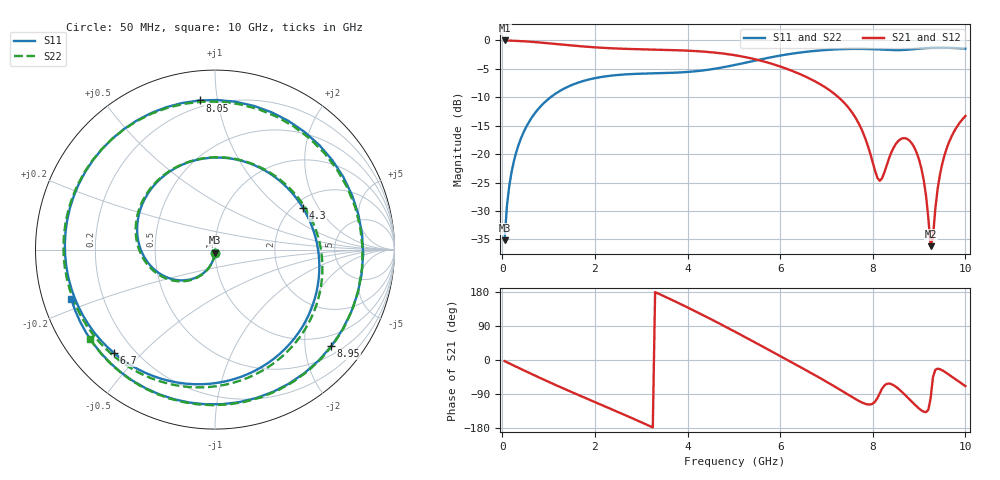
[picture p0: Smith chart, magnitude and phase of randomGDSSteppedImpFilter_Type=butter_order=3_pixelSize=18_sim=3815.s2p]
! freq	dB(S11)	phase(S11)	dB(S12)	phase(S12)
!  dB(S21)	phase(S21)	dB(S22)	phase(S22)
!S-par simulation data
#  GHz  S  DB  R 50
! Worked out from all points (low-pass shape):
!   200 points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, 50 MHz to 10 GHz, reference 50 ohm
!   highest |S21| = 0.00 dB at 50 MHz (marker M1); lowest = -36.2 dB at 9.25 GHz (marker M2)
!   |S21| within 3 dB of the highest: start of sweep to 5.29 GHz
!   lowest |S11| = -35.1 dB at 50 MHz (marker M3), VSWR 1.04, Z = 49.9 - j1.74 ohm
!   |S11| at or under -10 dB: start of sweep to 1.042 GHz
!   |S22| runs from -35.1 to -1.2 dB; largest |S21 - S12| = 0
!   S11 on the Smith chart (normalised r, x): 50 MHz: 1.00, -0.03; 4.3 GHz: 2.25, +1.48; 6.7 GHz: 0.13, -0.42; 8.05 GHz: 0.16, +0.89; 8.95 GHz: 0.70, -2.60; 10 GHz: 0.08, -0.17
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0.05  -35.14 -92.9  -0.00 -3.0  -0.00 -3.0  -35.14 -92.8
0.2  -23.16 -102.3  -0.04 -11.9  -0.04 -11.9  -23.16 -101.9
0.5  -15.49 -120.4  -0.17 -29.3  -0.17 -29.3  -15.48 -119.4
1.1  -9.65 -154.9  -0.58 -63.1  -0.58 -63.1  -9.65 -152.5
1.75  -7.14 169.5  -1.06 -98.0  -1.06 -98.0  -7.14 173.3
2.65  -5.98 120.9  -1.48 -145.3  -1.48 -145.3  -5.98 127.2
3.4  -5.76 79.0  -1.64 173.6  -1.64 173.6  -5.76 87.4
4.3  -5.31 25.3  -1.94 120.5  -1.94 120.5  -5.31 35.3
5.05  -4.27 -22.1  -2.64 73.0  -2.64 73.0  -4.27 -12.2
6  -2.67 -85.1  -4.58 10.4  -4.58 10.4  -2.65 -75.5
6.7  -1.88 -134.2  -6.97 -36.5  -6.97 -36.5  -1.85 -123.4
7.45  -1.51 164.0  -11.59 -90.1  -11.59 -90.1  -1.47 178.4
7.75  -1.49 132.9  -15.50 -111.2  -15.50 -111.2  -1.46 149.5
8.05  -1.56 95.9  -22.96 -109.8  -22.96 -109.8  -1.56 114.7
8.15  -1.60 82.2  -24.70 -87.9  -24.70 -87.9  -1.62 101.5
8.35  -1.68 52.7  -20.77 -62.1  -20.77 -62.1  -1.74 72.8
8.65  -1.68 6.0  -17.21 -86.5  -17.21 -86.5  -1.79 25.1
8.95  -1.49 -39.8  -19.81 -122.7  -19.81 -122.7  -1.57 -23.0
9.1  -1.38 -61.1  -24.57 -136.5  -24.57 -136.5  -1.43 -45.4
9.25  -1.30 -81.0  -36.20 -100.0  -36.20 -100.0  -1.32 -66.2
9.55  -1.27 -116.6  -20.17 -30.9  -20.17 -30.9  -1.23 -102.0
10  -1.44 -161.1  -13.30 -68.8  -13.30 -68.8  -1.35 -144.6
